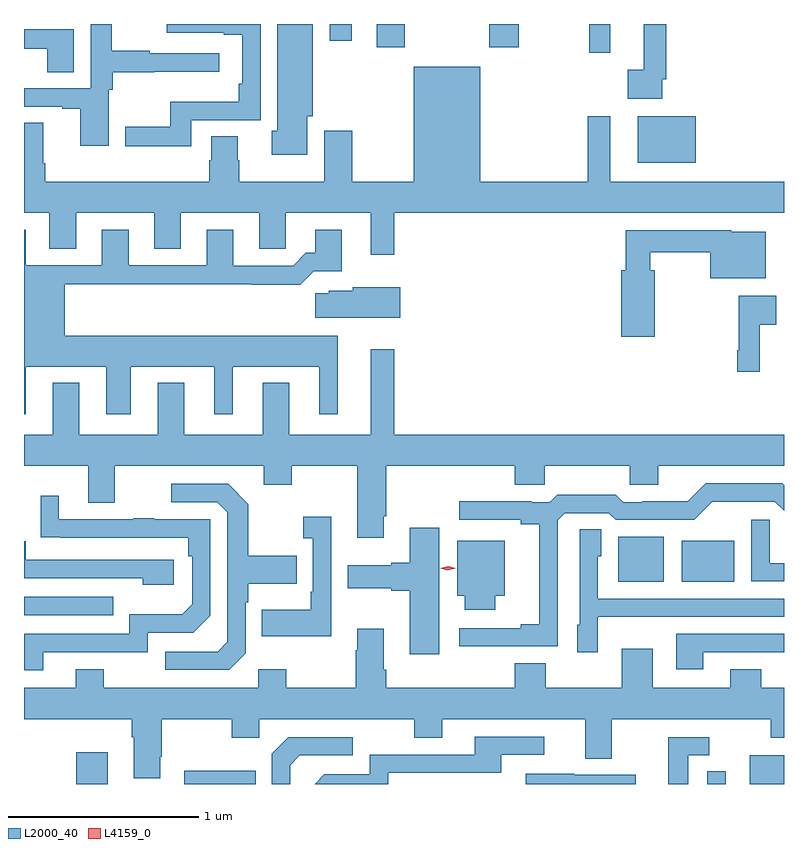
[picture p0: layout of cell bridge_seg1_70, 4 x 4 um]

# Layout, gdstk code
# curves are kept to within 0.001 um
import gdstk
lib = gdstk.Library(unit=1e-6, precision=1e-09)
def R(c, l, rs):  # rectangles x0, y0, x1, y1
    for r in rs: c.add(gdstk.rectangle(r[:2], r[2:], *l))
def P(c, l, *ps):  # polygons
    for p in ps: c.add(gdstk.Polygon(p, *l))
L2000_40 = (2000, 40)
L4159_0 = (4159, 0)

bridge_seg1_70 = lib.new_cell('bridge_seg1_70')
R(bridge_seg1_70, L2000_40, [(615.122,526.082,615.289,526.249), (615.69,526.082,616.067,526.153), (618.444,526.082,618.54,526.148), (618.668,526.082,618.847,526.234), (614.847,526.971,615.317,527.067), (617.975,527.147,618.214,527.383), (618.308,527.147,618.586,527.362), (618.077,529.352,618.382,529.597), (617.823,529.932,617.933,530.082), (616.703,529.959,616.851,530.082), (617.296,529.959,617.451,530.082), (616.457,529.995,616.573,530.082)])
P(bridge_seg1_70, L2000_40, [(615.726,529.575),(616.092,529.575),(616.092,530.082),(615.597,530.082),(615.597,530.037),(615.899,530.037),(615.899,530.025),(615.996,530.025),(615.996,529.768),(615.976,529.768),(615.976,529.672),(615.618,529.672),(615.618,529.541),(615.381,529.541),(615.381,529.439),(615.726,529.439)],
  [(618.207,529.792),(618.227,529.792),(618.227,530.082),(618.11,530.082),(618.11,529.841),(618.024,529.841),(618.024,529.688),(618.207,529.688)],
  [(616.339,529.596),(616.366,529.596),(616.366,530.082),(616.181,530.082),(616.181,529.52),(616.151,529.52),(616.151,529.394),(616.339,529.394)],
  [(615.294,529.736),(615.314,529.736),(615.314,529.828),(615.533,529.828),(615.533,529.832),(615.874,529.832),(615.874,529.929),(615.509,529.929),(615.509,529.942),(615.309,529.942),(615.309,530.082),(615.198,530.082),(615.198,529.743),(614.847,529.743),(614.847,529.647),(615.047,529.647),(615.047,529.635),(615.143,529.635),(615.143,529.44),(615.294,529.44)],
  [(615.109,530.054),(614.847,530.054),(614.847,529.953),(614.969,529.953),(614.969,529.828),(615.109,529.828)],
  [(616.795,529.088),(618.847,529.088),(618.847,529.252),(617.932,529.252),(617.932,529.597),(617.815,529.597),(617.815,529.252),(617.248,529.252),(617.248,529.858),(616.898,529.858),(616.898,529.252),(616.575,529.252),(616.575,529.519),(616.427,529.519),(616.427,529.252),(615.981,529.252),(615.981,529.365),(615.973,529.365),(615.973,529.49),(615.833,529.49),(615.833,529.365),(615.821,529.365),(615.821,529.252),(614.96,529.252),(614.96,529.348),(614.947,529.348),(614.947,529.562),(614.847,529.562),(614.847,529.088),(614.981,529.088),(614.981,528.898),(615.121,528.898),(615.121,529.088),(615.533,529.088),(615.533,528.898),(615.673,528.898),(615.673,529.088),(616.085,529.088),(616.085,528.898),(616.224,528.898),(616.224,529.088),(616.673,529.088),(616.673,528.867),(616.795,528.867)],
  [(614.857,528.278),(615.281,528.278),(615.281,528.027),(615.409,528.027),(615.409,528.278),(615.848,528.278),(615.848,528.027),(615.946,528.027),(615.946,528.278),(616.4,528.278),(616.4,528.027),(616.498,528.027),(616.498,528.442),(615.061,528.442),(615.061,528.712),(616.045,528.712),(616.045,528.71),(616.301,528.71),(616.371,528.78),(616.519,528.78),(616.519,529),(616.379,529),(616.379,528.877),(616.33,528.877),(616.263,528.81),(615.949,528.81),(615.949,529),(615.809,529),(615.809,528.813),(615.397,528.813),(615.397,529),(615.257,529),(615.257,528.813),(614.857,528.813),(614.857,529),(614.847,529),(614.847,528.027),(614.857,528.027)],
  [(618.168,528.787),(618.142,528.787),(618.142,528.88),(618.458,528.88),(618.458,528.743),(618.751,528.743),(618.751,528.988),(618.57,528.988),(618.57,528.996),(618.013,528.996),(618.013,528.787),(617.99,528.787),(617.99,528.435),(618.168,528.435)],
  [(616.828,528.697),(616.578,528.697),(616.578,528.679),(616.452,528.679),(616.452,528.665),(616.38,528.665),(616.38,528.536),(616.828,528.536)],
  [(618.719,528.5),(618.805,528.5),(618.805,528.652),(618.609,528.652),(618.609,528.364),(618.601,528.364),(618.601,528.252),(618.719,528.252)],
  [(616.741,527.491),(616.754,527.491),(616.754,527.756),(617.429,527.756),(617.429,527.658),(617.589,527.658),(617.589,527.756),(618.034,527.756),(618.034,527.658),(618.184,527.658),(618.184,527.756),(618.847,527.756),(618.847,527.92),(616.795,527.92),(616.795,528.37),(616.673,528.37),(616.673,527.92),(616.243,527.92),(616.243,528.193),(616.103,528.193),(616.103,527.92),(615.691,527.92),(615.691,528.193),(615.551,528.193),(615.551,527.92),(615.139,527.92),(615.139,528.193),(614.999,528.193),(614.999,527.92),(614.847,527.92),(614.847,527.756),(615.185,527.756),(615.185,527.562),(615.325,527.562),(615.325,527.756),(616.109,527.756),(616.109,527.657),(616.257,527.657),(616.257,527.756),(616.601,527.756),(616.601,527.379),(616.741,527.379)],
  [(617.655,527.469),(617.694,527.508),(617.925,527.508),(617.961,527.472),(618.375,527.472),(618.47,527.567),(618.798,527.568),(618.847,527.519),(618.847,527.655),(618.838,527.664),(618.435,527.664),(618.341,527.57),(618.1,527.57),(618.1,527.565),(618,527.565),(617.961,527.605),(617.653,527.605),(617.613,527.565),(617.519,527.565),(617.519,527.57),(617.139,527.57),(617.139,527.472),(617.462,527.472),(617.462,527.45),(617.558,527.45),(617.558,526.922),(617.462,526.922),(617.462,526.902),(617.139,526.902),(617.139,526.806),(617.655,526.806)],
  [(616.014,526.77),(616.014,527.039),(616.027,527.039),(616.027,527.135),(616.283,527.135),(616.283,527.283),(616.027,527.283),(616.027,527.555),(615.921,527.661),(615.621,527.661),(615.621,527.565),(615.864,527.565),(615.918,527.511),(615.918,526.83),(615.867,526.779),(615.591,526.779),(615.591,526.683),(615.927,526.683)],
  [(614.947,526.776),(615.498,526.776),(615.498,526.878),(615.738,526.878),(615.828,526.968),(615.828,527.475),(615.533,527.475),(615.533,527.48),(615.421,527.48),(615.421,527.475),(615.031,527.475),(615.031,527.599),(614.935,527.599),(614.935,527.38),(615.712,527.379),(615.712,527.282),(615.732,527.282),(615.732,527.028),(615.679,526.975),(615.402,526.975),(615.402,526.872),(614.847,526.872),(614.847,526.68),(614.947,526.68)],
  [(616.464,527.488),(616.317,527.488),(616.317,527.375),(616.368,527.375),(616.368,527.095),(616.356,527.095),(616.356,526.999),(616.099,526.999),(616.099,526.859),(616.464,526.859)],
  [(618.847,527.244),(618.771,527.244),(618.771,527.473),(618.675,527.473),(618.675,527.148),(618.847,527.148)],
  [(617.032,527.431),(616.877,527.431),(616.877,527.246),(616.781,527.246),(616.781,527.233),(616.551,527.233),(616.551,527.111),(616.781,527.111),(616.781,527.099),(616.877,527.099),(616.877,526.764),(617.032,526.764)],
  [(617.868,526.961),(618.185,526.961),(618.185,526.962),(618.847,526.962),(618.847,527.058),(617.868,527.058),(617.868,527.28),(617.884,527.28),(617.884,527.423),(617.772,527.423),(617.772,526.92),(617.759,526.92),(617.759,526.776),(617.868,526.776)],
  [(617.326,527.072),(617.377,527.072),(617.377,527.362),(617.126,527.362),(617.126,527.072),(617.168,527.072),(617.168,527),(617.326,527)],
  [(615.634,527.262),(614.857,527.262),(614.857,527.359),(614.847,527.359),(614.847,527.166),(615.473,527.166),(615.473,527.132),(615.634,527.132)],
  [(615.565,526.225),(615.573,526.225),(615.573,526.424),(615.94,526.424),(615.94,526.325),(616.086,526.325),(616.086,526.424),(616.9,526.424),(616.9,526.325),(617.047,526.325),(617.047,526.424),(617.801,526.424),(617.801,526.216),(617.941,526.216),(617.941,526.424),(618.778,526.424),(618.778,526.325),(618.847,526.325),(618.847,526.588),(618.727,526.588),(618.727,526.687),(618.563,526.687),(618.563,526.588),(618.157,526.588),(618.157,526.795),(617.993,526.795),(617.993,526.588),(617.593,526.588),(617.593,526.717),(617.429,526.717),(617.429,526.588),(616.754,526.588),(616.754,526.684),(616.741,526.684),(616.741,526.9),(616.601,526.9),(616.601,526.787),(616.594,526.787),(616.594,526.588),(616.227,526.588),(616.227,526.687),(616.08,526.687),(616.08,526.588),(615.267,526.588),(615.267,526.687),(615.119,526.687),(615.119,526.588),(614.847,526.588),(614.847,526.424),(615.413,526.424),(615.413,526.328),(615.425,526.328),(615.425,526.113),(615.565,526.113)],
  [(618.421,526.776),(618.847,526.776),(618.847,526.872),(618.281,526.872),(618.281,526.686),(618.421,526.686)],
  [(616.764,526.14),(617.359,526.14),(617.359,526.236),(617.584,526.236),(617.584,526.332),(617.219,526.332),(617.219,526.236),(616.668,526.236),(616.668,526.134),(616.428,526.134),(616.376,526.082),(616.764,526.082)],
  [(618.343,526.233),(618.454,526.233),(618.454,526.329),(618.239,526.329),(618.239,526.082),(618.343,526.082)],
  [(616.248,526.182),(616.299,526.233),(616.576,526.233),(616.576,526.329),(616.239,526.329),(616.152,526.242),(616.152,526.082),(616.248,526.082)],
  [(618.067,526.131),(617.743,526.131),(617.743,526.135),(617.489,526.135),(617.489,526.082),(618.067,526.082)])
P(bridge_seg1_70, L4159_0, [(617.078,527.208),(617.038,527.218),(617.038,527.218),(617.038,527.218),(617.079,527.228),(617.119,527.217),(617.119,527.217),(617.119,527.217)])

lib.write_gds('bridge_seg1_70.gds')
